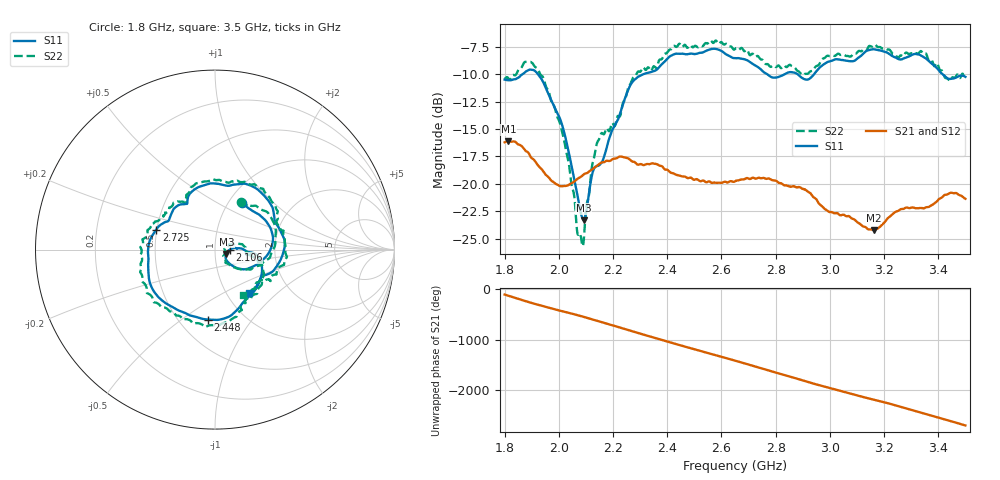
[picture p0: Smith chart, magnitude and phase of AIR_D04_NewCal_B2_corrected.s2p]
! Created with skrf 1.9.0 (http://scikit-rf.org).
# Hz S RI R 50.0
!freq ReS11 ImS11 ReS21 ImS21 ReS12 ImS12 ReS22 ImS22
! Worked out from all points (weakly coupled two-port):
!   1601 points, 1.8 GHz to 3.5 GHz, reference 50 ohm
!   highest |S21| = -16.12 dB at 1.814 GHz (marker M1); lowest = -24.2 dB at 3.161 GHz (marker M2)
!   lowest |S11| = -23.3 dB at 2.092 GHz (marker M3), VSWR 1.15, Z = 56.8 - j2.71 ohm
!   |S11| at or under -10 dB: start of sweep to 1.866 GHz; 1.923 GHz to 2.313 GHz (389.6 MHz wide, 18.4 % of centre); 3.416 GHz to end of sweep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
!   |S22| runs from -25.7 to -6.9 dB; largest |S21 - S12| = 0.0024
!   S11 on the Smith chart (normalised r, x): 1.8 GHz: 1.15, +0.65; 2.106 GHz: 1.18, -0.00; 2.448 GHz: 0.69, -0.63; 2.725 GHz: 0.50, +0.13; 3.5 GHz: 1.27, -0.68
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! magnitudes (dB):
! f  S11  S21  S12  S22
! 1.8 GHz  -10.5  -16.2  -16.2  -10.4
! 1.814 GHz  -10.6  -16.1  -16.1  -10.4
! 1.887 GHz  -9.6  -17.2  -17.2  -8.9
! 1.942 GHz  -10.7  -18.8  -18.8  -10.3
! 2.013 GHz  -14.7  -20.2  -20.2  -15.3
! 2.07 GHz  -21.2  -19.5  -19.5  -24.6
! 2.084 GHz  -22.9  -19.3  -19.3  -25.2
! 2.092 GHz  -23.3  -19.1  -19.2  -25.1
! 2.106 GHz  -21.8  -19.0  -19.0  -21.6
! 2.126 GHz  -18.8  -18.6  -18.6  -18.0
! 2.151 GHz  -18.3  -18.2  -18.2  -15.8
! 2.21 GHz  -14.5  -17.7  -17.6  -14.5
! 2.266 GHz  -10.9  -17.9  -17.9  -10.8
! 2.367 GHz  -9.4  -18.3  -18.2  -8.9
! 2.448 GHz  -8.1  -19.3  -19.3  -7.3
! 2.65 GHz  -8.6  -19.8  -19.8  -7.7
! 2.725 GHz  -9.2  -19.5  -19.5  -8.4
! 2.934 GHz  -10.2  -21.1  -21.0  -9.7
! 3.161 GHz  -7.7  -24.2  -24.1  -7.4
! 3.217 GHz  -8.1  -23.1  -23.0  -7.7
! 3.343 GHz  -8.4  -22.2  -22.2  -8.1
! 3.5 GHz  -10.2  -21.4  -21.3  -10.5
